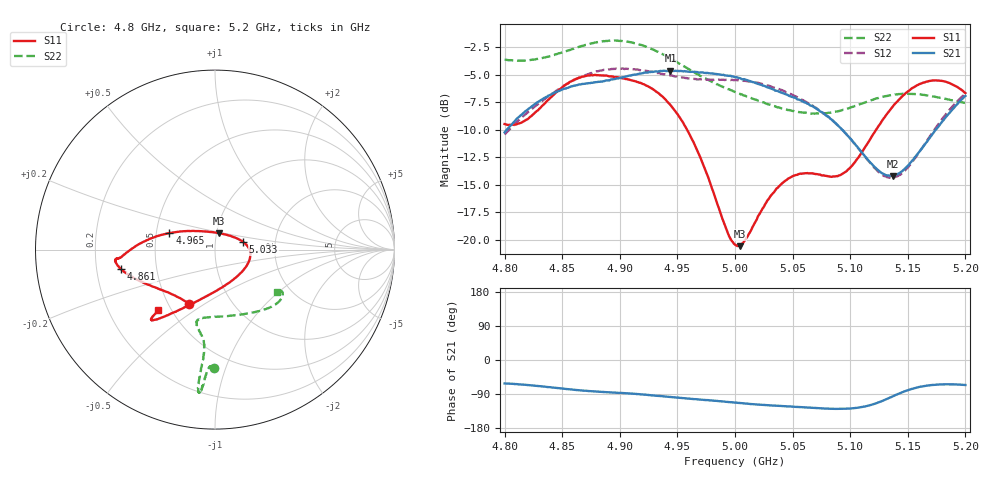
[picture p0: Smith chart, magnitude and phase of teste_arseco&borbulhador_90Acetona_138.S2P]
! Network Analyzer HP8722D
! Hewlett-Packard
! Data name: Linha & Wilkinson
! Saver's name: Rodrigo Anjos
! Comments: Teste da utilização de aquisição
! continua pelo VNA HP8722D
! Time and date: 17/4/2025 12:12
!  Frequency  S11  S21  S12  S22
# HZ  S  MA R 50
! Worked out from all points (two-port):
!   401 points, 4.8 GHz to 5.2 GHz, reference 50 ohm
!   highest |S21| = -4.65 dB at 4.944 GHz (marker M1); lowest = -14.2 dB at 5.137 GHz (marker M2)
!   |S21| within 3 dB of the highest: 4.827 GHz to 5.063 GHz (236 MHz wide, 4.77 % of centre); 5.193305 GHz to end of sweep
!   lowest |S11| = -20.6 dB at 5.004 GHz (marker M3), VSWR 1.21, Z = 51.6 + j9.41 ohm
!   |S11| at or under -10 dB: 4.958 GHz to 5.123 GHz (164.2 MHz wide, 3.26 % of centre)
!   |S22| runs from -8.5 to -1.9 dB; largest |S21 - S12| = 0.88
!   S11 on the Smith chart (normalised r, x): 4.8 GHz: 0.63, -0.43; 4.861 GHz: 0.31, -0.09; 4.965 GHz: 0.59, +0.12; 5.033 GHz: 1.37, +0.12; 5.2 GHz: 0.43, -0.37
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4.8e9  0.3351 -116.0  0.3072 -61.8  0.3002 -176.2  0.6578 -90.7
4.819e9  0.3511 -136.3  0.3862 -65.8  0.3743 -175.4  0.6518 -92.4
4.861e9  0.5348 -168.1  0.5006 -78.8  0.533 -178.7  0.7405 -94.9
4.867e9  0.5491 -170.5  0.5092 -80.4  0.5506 -179.9  0.7578 -94.9
4.902e9  0.5402 -174.9  0.5468 -87.1  0.5996 173.3  0.7983 -96.7
4.934e9  0.4609 179.2  0.5822 -94.9  0.5717 170.5  0.708 -96.9
4.944e9  0.4088 174.4  0.5854 -97.7  0.5561 170.7  0.6656 -96.7
4.965e9  0.27 160.1  0.5795 -103.4  0.5368 172.6  0.5738 -96.0
4.993e9  0.1095 114.1  0.5566 -110.6  0.5327 174.8  0.4856 -98.7
5e9  0.09501 89.6  0.5477 -112.5  0.5322 174.8  0.4683 -100.1
5.004e9  0.09352 75.4  0.542 -113.4  0.5292 174.8  0.4604 -101.0
5.033e9  0.1629 15.0  0.4819 -120.1  0.4917 173.4  0.4054 -103.8
5.049e9  0.1928 -0.5  0.4456 -123.1  0.4571 173.0  0.3856 -99.6
5.067e9  0.2003 -19.7  0.4046 -126.1  0.4076 172.5  0.3739 -89.7
5.085e9  0.1937 -48.3  0.3463 -128.9  0.3472 173.0  0.3799 -75.9
5.097e9  0.205 -72.6  0.2998 -128.5  0.3002 174.6  0.3932 -66.2
5.122e9  0.3131 -110.6  0.2124 -114.8  0.2097 -169.5  0.4364 -49.3
5.134e9  0.3848 -120.1  0.1953 -100.1  0.1912 -153.0  0.4524 -43.4
5.137e9  0.4025 -121.8  0.1948 -96.0  0.1913 -148.2  0.4551 -42.1
5.149e9  0.4665 -127.0  0.2141 -80.7  0.2104 -130.8  0.4599 -37.7
5.17e9  0.5269 -131.7  0.2945 -66.2  0.299 -112.5  0.4491 -32.8
5.2e9  0.463 -132.9  0.4497 -66.0  0.4608 -108.1  0.4178 -34.5
